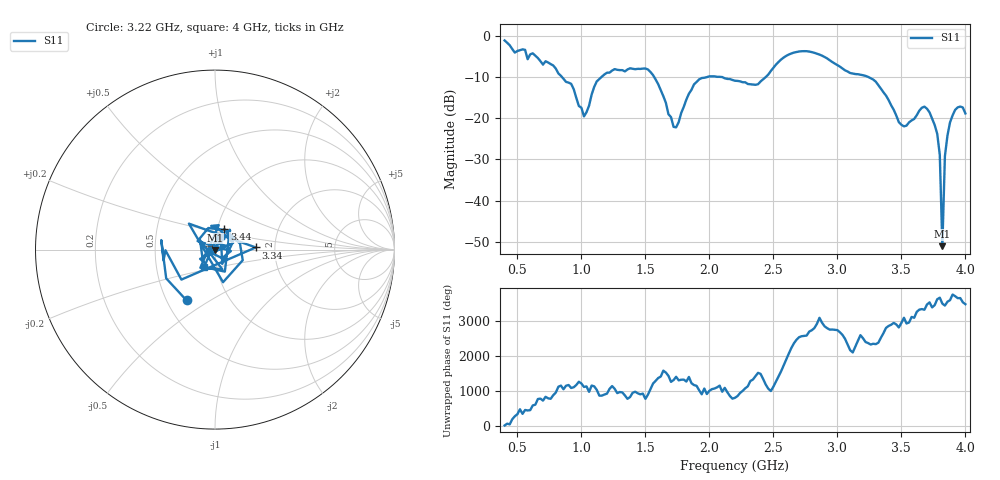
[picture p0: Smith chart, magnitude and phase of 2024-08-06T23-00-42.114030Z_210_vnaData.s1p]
!Created with skrf (http://scikit-rf.org).
# Hz S RI R 50.0
!freq ReS11 ImS11
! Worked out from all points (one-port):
!   181 points, 400 MHz to 4 GHz, reference 50 ohm
!   lowest |S11| = -51.0 dB at 3.82 GHz (marker M1), VSWR 1.01, Z = 49.9 - j0.272 ohm
!   |S11| at or under -10 dB: 1.568 GHz to 1.988 GHz (420.1 MHz wide, 23.6 % of centre); 2.059 GHz to 2.442 GHz (383.3 MHz wide, 17 % of centre); 3.239 GHz to end of sweep (the widest 3 of 4)
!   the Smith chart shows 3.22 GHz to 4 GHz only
!   S11 on the Smith chart (normalised r, x): 3.22 GHz: 0.63, -0.40; 3.34 GHz: 1.59, +0.04; 3.44 GHz: 1.08, +0.25; 4 GHz: 0.87, -0.17
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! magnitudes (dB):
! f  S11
! 400 MHz  -1.2
! 860 MHz  -10.5
! 920 MHz  -11.7
! 1.02 GHz  -19.6
! 1.12 GHz  -11.1
! 1.3 GHz  -8.4
! 1.52 GHz  -8.2
! 1.6 GHz  -11.8
! 1.72 GHz  -22.1
! 1.76 GHz  -21.0
! 1.92 GHz  -10.6
! 2.2 GHz  -11.0
! 2.38 GHz  -11.8
! 2.66 GHz  -4.1
! 3.1 GHz  -9.1
! 3.22 GHz  -9.8
! 3.34 GHz  -12.9
! 3.44 GHz  -18.0
! 3.5 GHz  -21.6
! 3.56 GHz  -21.0
! 3.68 GHz  -17.2
! 3.78 GHz  -23.8
! 3.8 GHz  -28.9
! 3.82 GHz  -51.0
! 3.84 GHz  -29.2
! 3.86 GHz  -24.2
! 3.92 GHz  -18.0
! 4 GHz  -18.9
